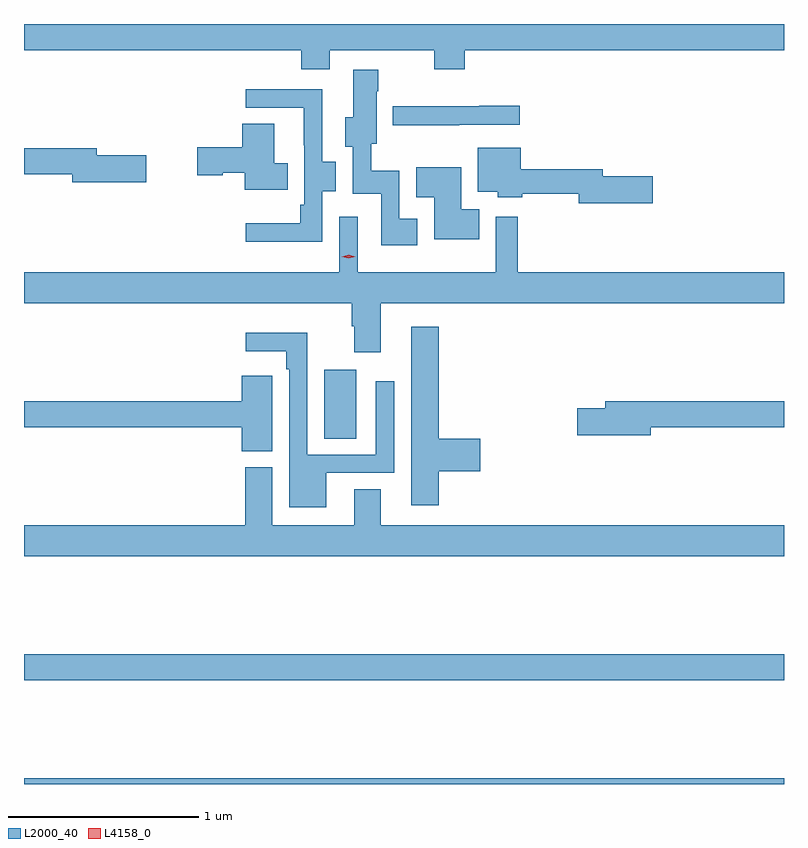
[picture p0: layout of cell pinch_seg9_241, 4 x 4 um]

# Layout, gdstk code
import gdstk
lib = gdstk.Library(unit=1e-6, precision=1e-09)
def R(c, l, rs):  # rectangles x0, y0, x1, y1
    for r in rs: c.add(gdstk.rectangle(r[:2], r[2:], *l))
def P(c, l, *ps):  # polygons
    for p in ps: c.add(gdstk.Polygon(p, *l))
L2000_40 = (2000, 40)
L4158_0 = (4158, 0)

pinch_seg9_241 = lib.new_cell('pinch_seg9_241')
R(pinch_seg9_241, L2000_40, [(409.955,1216.534,413.955,1216.564), (409.955,1217.08,413.955,1217.216), (411.536,1218.352,411.703,1218.715)])
P(pinch_seg9_241, L2000_40, [(409.955,1220.396),(411.413,1220.396),(411.413,1220.297),(411.565,1220.297),(411.565,1220.396),(412.114,1220.396),(412.114,1220.297),(412.274,1220.297),(412.274,1220.396),(413.955,1220.396),(413.955,1220.534),(409.955,1220.534)],
  [(412.024,1219.51),(411.93,1219.51),(411.93,1219.762),(411.783,1219.762),(411.783,1219.904),(411.811,1219.904),(411.811,1220.18),(411.819,1220.18),(411.819,1220.293),(411.689,1220.293),(411.689,1220.043),(411.647,1220.043),(411.647,1219.888),(411.684,1219.888),(411.684,1219.64),(411.834,1219.64),(411.834,1219.37),(412.024,1219.37)],
  [(411.525,1219.654),(411.595,1219.654),(411.595,1219.809),(411.525,1219.809),(411.525,1220.19),(411.123,1220.19),(411.123,1220.094),(411.428,1220.094),(411.428,1219.897),(411.429,1219.897),(411.429,1219.582),(411.409,1219.582),(411.409,1219.486),(411.123,1219.486),(411.123,1219.388),(411.525,1219.388)],
  [(412.247,1220.004),(412.564,1220.004),(412.564,1220.105),(412.351,1220.105),(412.351,1220.102),(411.896,1220.102),(411.896,1220.002),(412.247,1220.002)],
  [(411.344,1219.801),(411.271,1219.801),(411.271,1220.009),(411.104,1220.009),(411.104,1219.886),(410.868,1219.886),(410.868,1219.739),(411,1219.739),(411,1219.751),(411.116,1219.751),(411.116,1219.661),(411.344,1219.661)],
  [(413.263,1219.733),(413.002,1219.733),(413.002,1219.769),(412.57,1219.769),(412.57,1219.882),(412.343,1219.882),(412.343,1219.652),(412.448,1219.652),(412.448,1219.622),(412.578,1219.622),(412.578,1219.641),(412.874,1219.641),(412.874,1219.591),(413.263,1219.591)],
  [(410.599,1219.844),(410.338,1219.844),(410.338,1219.88),(409.955,1219.88),(409.955,1219.744),(410.21,1219.744),(410.21,1219.702),(410.599,1219.702)],
  [(412.352,1219.558),(412.255,1219.558),(412.255,1219.78),(412.019,1219.78),(412.019,1219.622),(412.115,1219.622),(412.115,1219.4),(412.352,1219.4)],
  [(411.832,1219.064),(413.955,1219.064),(413.955,1219.228),(412.553,1219.228),(412.553,1219.519),(412.437,1219.519),(412.437,1219.228),(411.711,1219.228),(411.711,1219.519),(411.615,1219.519),(411.615,1219.228),(409.955,1219.228),(409.955,1219.064),(411.68,1219.064),(411.68,1218.944),(411.692,1218.944),(411.692,1218.807),(411.832,1218.807)],
  [(412.139,1218.179),(412.357,1218.179),(412.357,1218.35),(412.139,1218.35),(412.139,1218.94),(411.992,1218.94),(411.992,1218),(412.139,1218)],
  [(411.547,1218.171),(411.903,1218.171),(411.903,1218.655),(411.807,1218.655),(411.807,1218.267),(411.447,1218.267),(411.447,1218.91),(411.123,1218.91),(411.123,1218.812),(411.335,1218.812),(411.335,1218.716),(411.351,1218.716),(411.351,1217.99),(411.547,1217.99)],
  [(411.262,1218.569),(411.261,1218.569),(411.261,1218.682),(411.101,1218.682),(411.101,1218.548),(409.955,1218.548),(409.955,1218.412),(411.101,1218.412),(411.101,1218.286),(411.262,1218.286)],
  [(413.254,1218.412),(413.955,1218.412),(413.955,1218.548),(413.015,1218.548),(413.015,1218.512),(412.866,1218.512),(412.866,1218.37),(413.254,1218.37)],
  [(413.955,1217.896),(411.832,1217.896),(411.832,1218.086),(411.692,1218.086),(411.692,1217.896),(411.262,1217.896),(411.262,1218.201),(411.119,1218.201),(411.119,1217.896),(409.955,1217.896),(409.955,1217.732),(413.955,1217.732)])
P(pinch_seg9_241, L4158_0, [(411.663,1219.3),(411.628,1219.31),(411.628,1219.31),(411.628,1219.31),(411.663,1219.32),(411.698,1219.31),(411.698,1219.31),(411.698,1219.31)])

lib.write_gds('pinch_seg9_241.gds')
